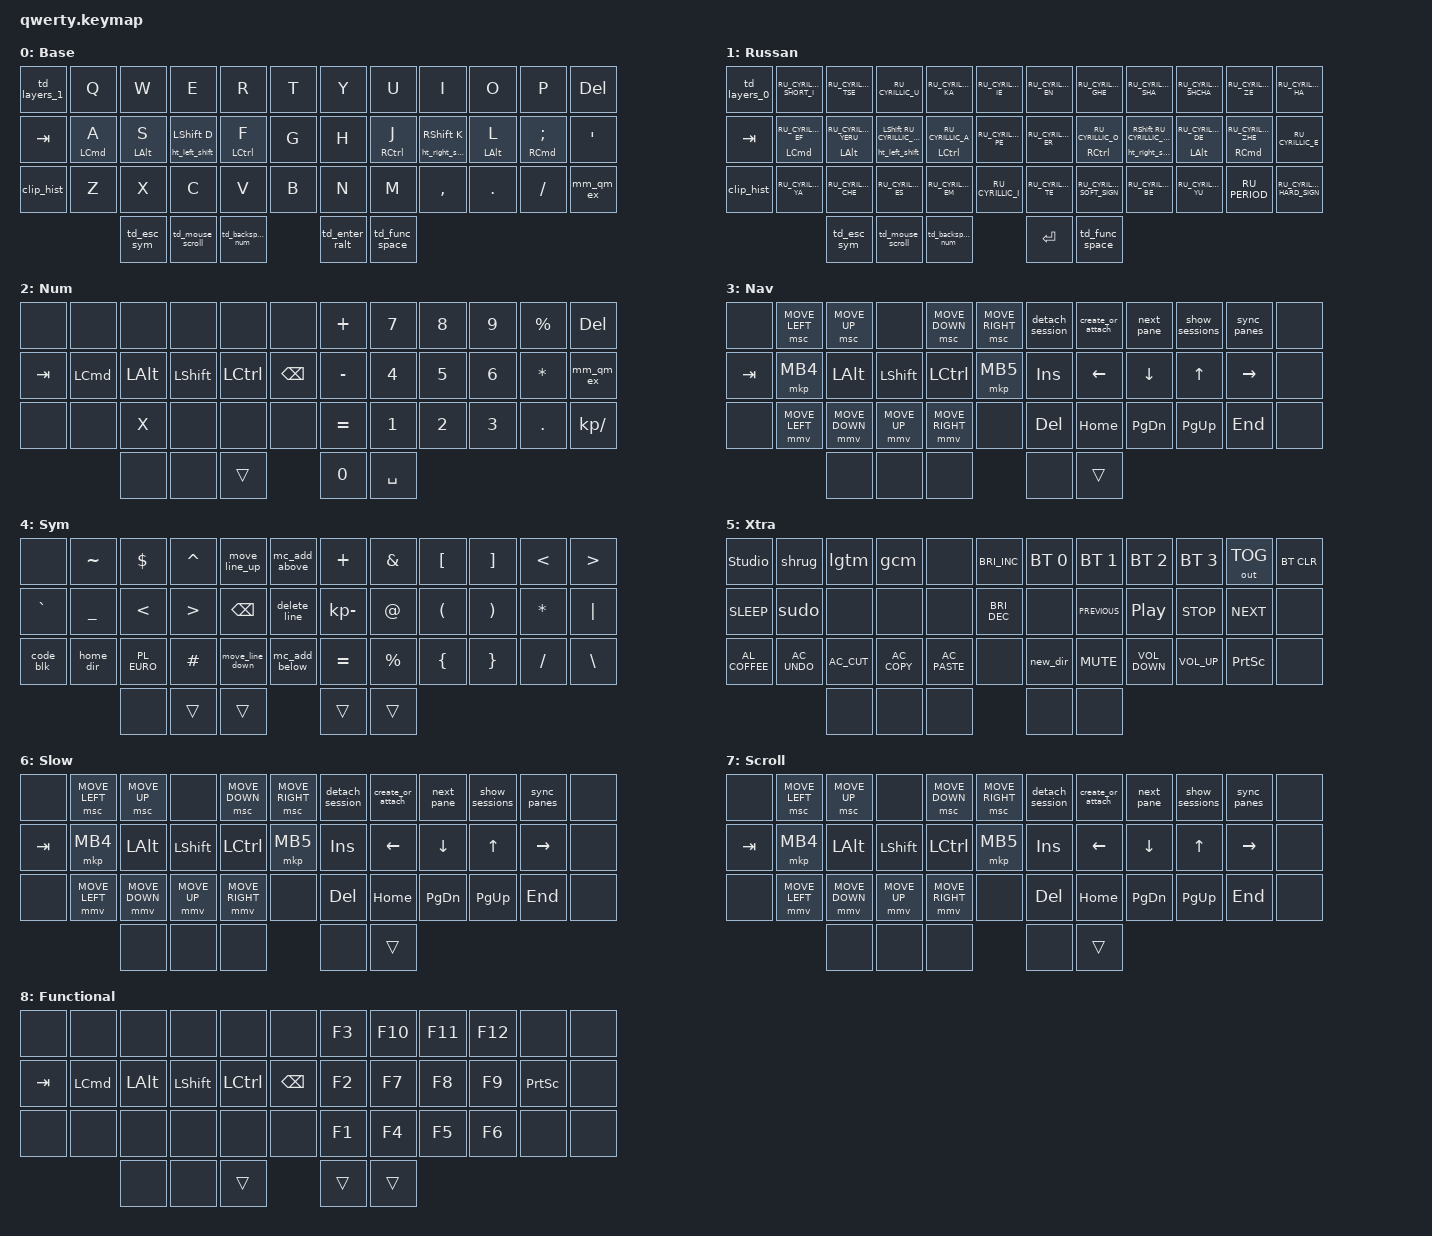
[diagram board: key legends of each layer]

/* upstream bindings and behaviors */
#include <behaviors.dtsi>
#include <dt-bindings/zmk/bt.h>
#include <dt-bindings/zmk/keys.h>
#include <dt-bindings/zmk/mouse.h>
#include <dt-bindings/zmk/outputs.h>
#include <behaviors/mouse_keys.dtsi>
#include <dt-bindings/zmk/ext_power.h>

/* local overlays */
#include "macros.dtsi"
#include "behaviors.dtsi"
#include "combos.dtsi"


/ {
/* --- KEYMAP CONFIG --- */
// ╭──────┬──────┬──────┬──────┬──────┬──────╮  ╭──────┬──────┬──────┬──────┬──────┬──────╮
//    00     01     02     03    04      05        06     07     08     09     10     11
// ├──────┼──────┼──────┼──────┼──────┼──────┤  ├──────┼──────┼──────┼──────┼──────┼──────┤
//    12     13     14     15    16      17        18     19     20     21     22     23
// ├──────┼──────┼──────┼──────┼──────┼──────┤  ├──────┼──────┼──────┼──────┼──────┼──────┤
//    24     25     26     27    28      29        30     31     32     33     34     35
// ╰──────┴──────┴──────┼──────┼──────┼──────┤  ├──────┼──────┼──────┴──────┴──────┴──────╯
//                         36     37     38        39     40
//                      ╰──────┴──────┴──────╯  ╰──────┴──────╯
// #define BASE    0
// #define RUS     1
// #define NUM     2
// #define NAV     3
// #define SYM     4
// #define EXTRAS  5
// #define SLOW    6
// #define SCROLL  7
// #define FUNC    8

    keymap {
        compatible = "zmk,keymap";
        BASE {
            display-name = "Base";
            bindings = <
// ╭───────────────┬────────────────┬────────────────┬──────────────────────┬─────────────────┬──────╮  ╭──────┬──────────────────┬────────────────────────┬───────────────────┬────────────────────────┬─────────────╮
    &td_layers_1    &kp Q            &kp W            &kp E                   &kp R             &kp T     &kp Y  &kp U              &kp I                    &kp O               &kp P                     &kp DELETE
// ├───────────────┼────────────────┼────────────────┼──────────────────────┼─────────────────┼──────┤  ├──────┼──────────────────┼────────────────────────┼───────────────────┼────────────────────────┼─────────────┤
    &kp TAB         &ht_left LCMD A  &ht_left LALT S  &ht_left_shift LSHFT D  &ht_left LCTRL F  &kp G     &kp H  &ht_right RCTRL J  &ht_right_shift RSHFT K  &ht_right LALT L    &ht_right RCMD SEMICOLON  &kp APOS
// ├───────────────┼────────────────┼────────────────┼──────────────────────┼─────────────────┼──────┤  ├──────┼──────────────────┼────────────────────────┼───────────────────┼────────────────────────┼─────────────┤
    &clip_hist      &kp Z            &kp X            &kp C                   &kp V             &kp B     &kp N  &kp M              &kp COMMA                &kp PERIOD          &kp FSLH                  &mm_qm_ex
// ╰───────────────┴────────────────┴────────────────┼──────────────────────┼─────────────────┼──────┤  ├──────┼──────────────────┼────────────────────────┴───────────────────┴────────────────────────┴─────────────╯
                                             &td_esc_sym   &td_mouse_scroll   &td_backspace_num          &td_enter_ralt   &td_func_space
                                         // ╰────────────┴──────────────────┴────────────────────────╯  ╰───────────────┴────────────────╯
            >;
        };

        RUS {
            display-name = "Russan";
            bindings = <
// ╭─────────────────┬──────────────────────────────┬───────────────────────────────┬─────────────────────────────────────┬──────────────────────────────┬────────────────────╮  ╭───────────────────┬───────────────────────────────┬─────────────────────────────────────┬──────────────────────────────┬──────────────────────────────────┬───────────────────────────╮
     &td_layers_0      &kp RU_CYRILLIC_SHORT_I        &kp RU_CYRILLIC_TSE             &kp RU_CYRILLIC_U                     &kp RU_CYRILLIC_KA             &kp RU_CYRILLIC_IE     &kp RU_CYRILLIC_EN   &kp RU_CYRILLIC_GHE             &kp RU_CYRILLIC_SHA                   &kp RU_CYRILLIC_SHCHA            &kp RU_CYRILLIC_ZE               &kp RU_CYRILLIC_HA
// ├─────────────────┼──────────────────────────────┼───────────────────────────────┼─────────────────────────────────────┼──────────────────────────────┼────────────────────┤  ├───────────────────┼───────────────────────────────┼─────────────────────────────────────┼──────────────────────────────┼──────────────────────────────────┼───────────────────────────┤
     &kp TAB           &ht_left LCMD RU_CYRILLIC_EF   &ht_left LALT RU_CYRILLIC_YERU  &ht_left_shift LSHFT RU_CYRILLIC_VE   &ht_left LCTRL RU_CYRILLIC_A   &kp RU_CYRILLIC_PE     &kp RU_CYRILLIC_ER   &ht_right RCTRL RU_CYRILLIC_O   &ht_right_shift RSHFT RU_CYRILLIC_EL  &ht_right LALT RU_CYRILLIC_DE    &ht_right RCMD RU_CYRILLIC_ZHE   &kp RU_CYRILLIC_E
// ├─────────────────┼──────────────────────────────┼───────────────────────────────┼─────────────────────────────────────┼──────────────────────────────┼────────────────────┤  ├───────────────────┼───────────────────────────────┼─────────────────────────────────────┼──────────────────────────────┼──────────────────────────────────┼───────────────────────────┤
     &clip_hist        &kp RU_CYRILLIC_YA             &kp RU_CYRILLIC_CHE             &kp RU_CYRILLIC_ES                    &kp RU_CYRILLIC_EM             &kp RU_CYRILLIC_I      &kp RU_CYRILLIC_TE   &kp RU_CYRILLIC_SOFT_SIGN       &kp RU_CYRILLIC_BE                    &kp RU_CYRILLIC_YU               &kp RU_PERIOD                    &kp RU_CYRILLIC_HARD_SIGN
// ╰─────────────────┴──────────────────────────────┴───────────────────────────────┼─────────────────────────────────────┼──────────────────────────────┼────────────────────┤  ├───────────────────┼───────────────────────────────┴─────────────────────────────────────┴──────────────────────────────┴──────────────────────────────────┴───────────────────────────╯
                                                                                                                           &td_esc_sym   &td_mouse_scroll   &td_backspace_num     &kp ENTER   &td_func_space
                                                                                                                 //       ╰────────────┴──────────────────┴───────────────────╯  ╰──────────┴───────────────╯
            >;
        };

        NUM {
            display-name = "Num";
            bindings = <
&none    &none     &none     &none       &none      &none            &kp PLUS     &kp N7             &kp N8             &kp N9             &kp PRCNT            &kp DELETE
&kp TAB  &kp LCMD  &kp LALT  &kp LSHIFT  &kp LCTRL  &kp BACKSPACE    &kp MINUS    &kp N4             &kp N5             &kp N6             &kp ASTRK            &mm_qm_ex
&none    &none     &kp X     &none       &none      &none            &kp EQUAL    &kp N1             &kp N2             &kp N3             &kp DOT            &kp KP_SLASH
                             &none       &none      &trans           &kp N0       &kp SPACE
            >;
        };

        NAV {
            display-name = "Nav";
            bindings = <
&none    &msc MOVE_LEFT  &msc MOVE_UP    &none        &msc MOVE_DOWN  &msc MOVE_RIGHT     &detach_session  &create_or_attach  &next_pane   &show_sessions  &sync_panes       &none
&kp TAB  &mkp MB4        &kp LALT        &kp LSHFT    &kp LCTRL       &mkp MB5            &kp INSERT       &kp LEFT_ARROW     &kp DOWN     &kp UP          &kp RIGHT_ARROW   &none
&none    &mmv MOVE_LEFT  &mmv MOVE_DOWN  &mmv MOVE_UP &mmv MOVE_RIGHT &none               &kp DELETE       &kp HOME           &kp PG_DN    &kp PG_UP       &kp END           &none
                                                      &none   &none   &none               &none   &trans
            >;
        };

        SYM {
            display-name = "Sym";
            bindings = <
&none     &kp TILDE  &kp DLLR    &kp CARET  &move_line_up    &mc_add_above      &kp PLUS      &kp AMPS  &kp LBKT  &kp RBKT  &kp LT     &kp GT
&kp GRAVE &kp UNDER  &kp LT      &kp GT     &kp BACKSPACE    &delete_line       &kp KP_MINUS  &kp AT    &kp LPAR  &kp RPAR  &kp ASTRK  &kp PIPE
&code_blk &home_dir  &kp PL_EURO &kp HASH   &move_line_down  &mc_add_below      &kp EQUAL     &kp PRCNT &kp LBRC  &kp RBRC  &kp FSLH   &kp BSLH
                                       &none  &trans     &trans            &trans   &trans
            >;
        };

        EXTRAS {
            display-name = "Xtra";
            bindings = <
&studio_unlock    &shrug          &lgtm           &gcm            &none           &kp C_BRIGHTNESS_INC    &bt BT_SEL 0  &bt BT_SEL 1    &bt BT_SEL 2       &bt BT_SEL 3  &out OUT_TOG         &bt BT_CLR
&kp C_SLEEP       &sudo           &none           &none           &none           &kp C_BRIGHTNESS_DEC    &none         &kp C_PREVIOUS  &kp C_PLAY_PAUSE   &kp C_STOP    &kp C_NEXT           &none
&kp C_AL_COFFEE   &kp C_AC_UNDO   &kp C_AC_CUT    &kp C_AC_COPY   &kp C_AC_PASTE  &none                   &new_dir      &kp K_MUTE      &kp C_VOLUME_DOWN  &kp C_VOLUME_UP   &kp PRINTSCREEN  &none
                                                                                   &none  &none  &none    &none         &none
            >;
        };

        SLOW {
            display-name = "Slow";
            bindings = <
&none    &msc MOVE_LEFT  &msc MOVE_UP    &none        &msc MOVE_DOWN  &msc MOVE_RIGHT     &detach_session  &create_or_attach  &next_pane   &show_sessions  &sync_panes       &none
&kp TAB  &mkp MB4        &kp LALT        &kp LSHFT    &kp LCTRL       &mkp MB5            &kp INSERT       &kp LEFT_ARROW     &kp DOWN     &kp UP          &kp RIGHT_ARROW   &none
&none    &mmv MOVE_LEFT  &mmv MOVE_DOWN  &mmv MOVE_UP &mmv MOVE_RIGHT &none               &kp DELETE       &kp HOME           &kp PG_DN    &kp PG_UP       &kp END           &none
                                                      &none   &none   &none               &none   &trans
            >;
        };

        SCROLL {
            display-name = "Scroll";
            bindings = <
&none    &msc MOVE_LEFT  &msc MOVE_UP    &none        &msc MOVE_DOWN  &msc MOVE_RIGHT     &detach_session  &create_or_attach  &next_pane   &show_sessions  &sync_panes       &none
&kp TAB  &mkp MB4        &kp LALT        &kp LSHFT    &kp LCTRL       &mkp MB5            &kp INSERT       &kp LEFT_ARROW     &kp DOWN     &kp UP          &kp RIGHT_ARROW   &none
&none    &mmv MOVE_LEFT  &mmv MOVE_DOWN  &mmv MOVE_UP &mmv MOVE_RIGHT &none               &kp DELETE       &kp HOME           &kp PG_DN    &kp PG_UP       &kp END           &none
                                                      &none   &none   &none               &none   &trans
            >;
        };

        FUNC {
            display-name = "Functional";
            bindings = <
&none    &none     &none     &none       &none      &none            &kp F3    &kp F10            &kp F11            &kp F12            &none            &none
&kp TAB  &kp LCMD  &kp LALT  &kp LSHIFT  &kp LCTRL  &kp BACKSPACE    &kp F2    &kp F7             &kp F8             &kp F9             &kp PRINTSCREEN  &none
&none    &none     &none     &none       &none      &none            &kp F1    &kp F4             &kp F5             &kp F6             &none            &none
                             &none       &none      &trans           &trans    &trans
            >;
        };
    };
};
